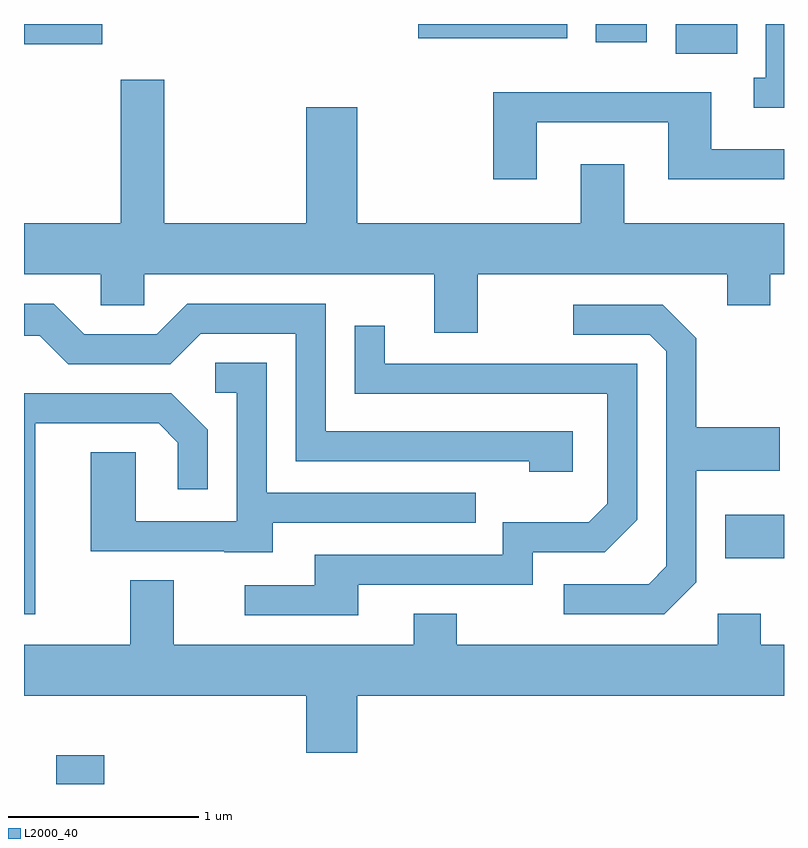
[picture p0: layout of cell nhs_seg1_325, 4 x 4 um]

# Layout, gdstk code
import gdstk
lib = gdstk.Library(unit=1e-6, precision=1e-09)
def R(c, l, rs):  # rectangles x0, y0, x1, y1
    for r in rs: c.add(gdstk.rectangle(r[:2], r[2:], *l))
def P(c, l, *ps):  # polygons
    for p in ps: c.add(gdstk.Polygon(p, *l))
L2000_40 = (2000, 40)

nhs_seg1_325 = lib.new_cell('nhs_seg1_325')
R(nhs_seg1_325, L2000_40, [(193.781,965.712,194.034,965.864), (197.301,966.901,197.611,967.129), (197.041,969.556,197.364,969.712), (193.611,969.606,194.024,969.712), (196.621,969.616,196.889,969.712), (195.686,969.636,196.469,969.712)])
P(nhs_seg1_325, L2000_40, [(197.611,969.712),(197.516,969.712),(197.516,969.429),(197.453,969.429),(197.453,969.271),(197.611,969.271)],
  [(195.999,968.396),(197.311,968.396),(197.311,968.231),(197.539,968.231),(197.539,968.396),(197.611,968.396),(197.611,968.664),(196.769,968.664),(196.769,968.974),(196.541,968.974),(196.541,968.664),(195.364,968.664),(195.364,969.274),(195.096,969.274),(195.096,968.664),(194.349,968.664),(194.349,969.419),(194.121,969.419),(194.121,968.664),(193.611,968.664),(193.611,968.396),(194.016,968.396),(194.016,968.231),(194.244,968.231),(194.244,968.396),(195.771,968.396),(195.771,968.086),(195.999,968.086)],
  [(196.309,969.196),(197.001,969.196),(197.001,968.896),(197.611,968.896),(197.611,969.054),(197.229,969.054),(197.229,969.354),(196.081,969.354),(196.081,968.896),(196.309,968.896)],
  [(196.499,967.569),(195.199,967.569),(195.199,968.239),(194.469,968.239),(194.309,968.079),(193.927,968.079),(193.767,968.239),(193.611,968.239),(193.611,968.071),(193.694,968.071),(193.844,967.921),(194.382,967.921),(194.542,968.081),(195.041,968.081),(195.041,967.411),(196.271,967.411),(196.271,967.356),(196.499,967.356)],
  [(197.149,966.774),(197.149,967.361),(197.589,967.361),(197.589,967.589),(197.149,967.589),(197.149,968.057),(196.972,968.234),(196.503,968.234),(196.503,968.076),(196.904,968.076),(196.991,967.989),(196.991,966.857),(196.899,966.764),(196.453,966.764),(196.453,966.606),(196.982,966.606)],
  [(195.369,966.761),(196.289,966.761),(196.289,966.931),(196.667,966.931),(196.839,967.104),(196.839,967.924),(195.509,967.924),(195.509,968.123),(195.351,968.123),(195.351,967.766),(196.681,967.766),(196.681,967.187),(196.584,967.089),(196.131,967.089),(196.131,966.919),(195.141,966.919),(195.141,966.759),(194.773,966.759),(194.773,966.601),(195.369,966.601)],
  [(194.919,967.086),(195.988,967.086),(195.988,967.244),(194.889,967.244),(194.889,967.929),(194.618,967.929),(194.618,967.771),(194.731,967.771),(194.731,967.094),(194.199,967.094),(194.199,967.459),(193.961,967.459),(193.961,966.936),(194.665,966.936),(194.665,966.931),(194.919,966.931)],
  [(193.669,967.611),(194.319,967.611),(194.421,967.509),(194.421,967.263),(194.579,967.263),(194.579,967.577),(194.387,967.769),(193.611,967.769),(193.611,966.606),(193.669,966.606)],
  [(195.364,966.176),(197.611,966.176),(197.611,966.444),(197.489,966.444),(197.489,966.609),(197.261,966.609),(197.261,966.444),(195.889,966.444),(195.889,966.609),(195.661,966.609),(195.661,966.444),(194.399,966.444),(194.399,966.784),(194.171,966.784),(194.171,966.444),(193.611,966.444),(193.611,966.176),(195.096,966.176),(195.096,965.876),(195.364,965.876)])

lib.write_gds('nhs_seg1_325.gds')
